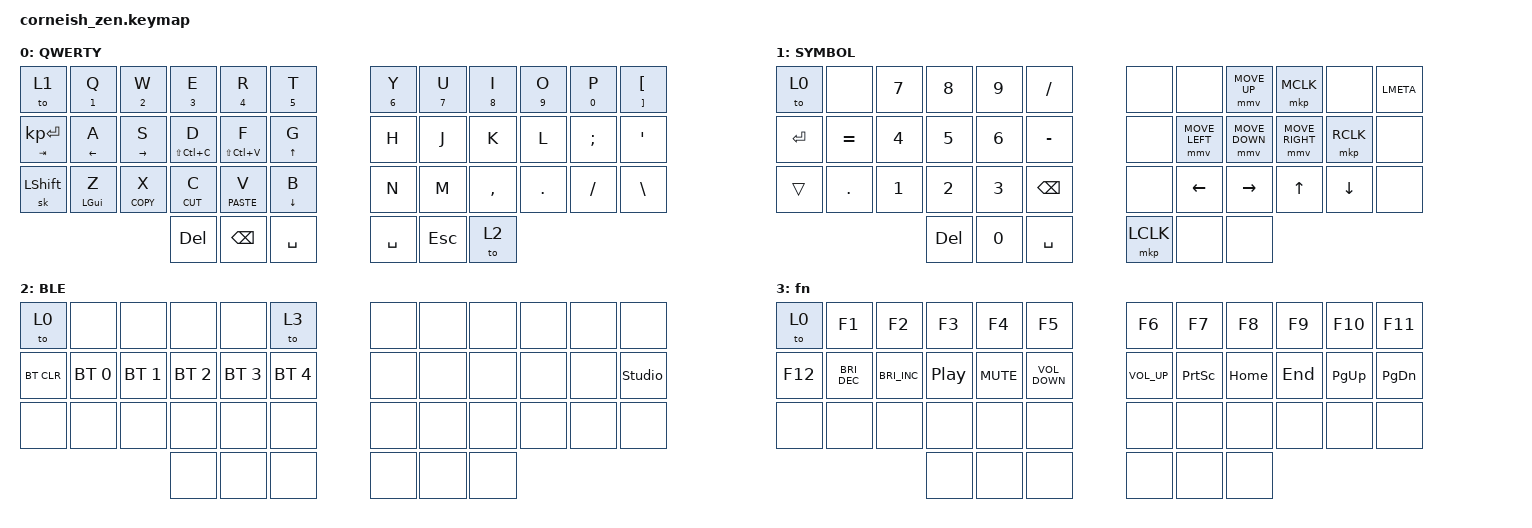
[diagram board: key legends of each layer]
#include <behaviors.dtsi>
#include <dt-bindings/zmk/bt.h>
#include <dt-bindings/zmk/keys.h>
#include <dt-bindings/zmk/pointing.h>

/ {
    chosen {
        zmk,physical-layout = &foostan_corne_6col_layout;

        // zmk,physical-layout = &foostan_corne_5col_layout;
    };
};

/ {
    keymap {
        compatible = "zmk,keymap";

        default_layer {
            display-name = "QWERTY";

            // --------------------------------------------------------------------------------
            // |  TAB |  Q  |  W  |  E  |  R  |  T  |   |  Y  |  U   |  I  |  O  |  P  | BSPC |
            // | CTRL |  A  |  S  |  D  |  F  |  G  |   |  H  |  J   |  K  |  L  |  ;  |  '   |
            // | SHFT |  Z  |  X  |  C  |  V  |  B  |   |  N  |  M   |  ,  |  .  |  /  | ESC  |
            //                    | GUI | LWR | SPC |   | ENT | RSE  | ALT |

            bindings = <
&to 1             &mt NUMBER_1 Q    &mt NUMBER_2 W     &mt NUMBER_3 E   &mt NUMBER_4 R   &mt N5 T            &mt NUMBER_6 Y  &mt N7 U  &mt N8 I   &mt N9 O  &mt N0 P  &mt RIGHT_BRACKET LEFT_BRACKET
&mt TAB KP_ENTER  &mt LEFT_ARROW A  &mt RIGHT_ARROW S  &mt LS(LC(C)) D  &mt LS(LC(V)) F  &mt UP_ARROW G      &kp H           &kp J     &kp K      &kp L     &kp SEMI  &kp SQT
&sk LEFT_SHIFT    &mt LEFT_GUI Z    &mt K_COPY X       &mt K_CUT C      &mt K_PASTE V    &mt DOWN_ARROW B    &kp N           &kp M     &kp COMMA  &kp DOT   &kp FSLH  &kp BACKSLASH
                                                       &kp DEL          &kp BACKSPACE    &kp SPACE           &kp SPACE       &kp ESC   &to 2
            >;
        };

        raise_layer {
            display-name = "SYMBOL";

            // -----------------------------------------------------------------------------------------
            // |  TAB |  !  |  @  |  #  |  $  |  %  |   |  ^  |  &  |  *  |  (  |  )  | BSPC |
            // | CTRL |     |     |     |     |     |   |  -  |  =  |  [  |  ]  |  \  |  `   |
            // | SHFT |     |     |     |     |     |   |  _  |  +  |  {  |  }  | "|" |  ~   |
            //                    | GUI |     | SPC |   | ENT |     | ALT |

            bindings = <
&to 0      &none       &kp N7        &kp N8        &kp N9        &kp SLASH        &none      &none           &mmv MOVE_UP    &mkp MCLK        &none           &kp LMETA
&kp ENTER  &kp EQUAL   &kp NUMBER_4  &kp N5        &kp NUMBER_6  &kp MINUS        &none      &mmv MOVE_LEFT  &mmv MOVE_DOWN  &mmv MOVE_RIGHT  &mkp RCLK       &none
&trans     &kp PERIOD  &kp NUMBER_1  &kp NUMBER_2  &kp NUMBER_3  &kp BACKSPACE    &none      &kp LEFT        &kp RIGHT       &kp UP_ARROW     &kp DOWN_ARROW  &none
                                     &kp DELETE    &kp N0        &kp SPACE        &mkp LCLK  &none           &none
            >;
        };

        lower_layer {
            display-name = "BLE";

            // -----------------------------------------------------------------------------------------
            // |  TAB |  1  |  2  |  3  |  4  |  5  |   |  6  |  7  |  8  |  9  |  0  | BSPC |
            // | BTCLR| BT1 | BT2 | BT3 | BT4 | BT5 |   | LFT | DWN |  UP | RGT |     |Studio|
            // | SHFT |     |     |     |     |     |   |     |     |     |     |     |      |
            //                    | GUI |     | SPC |   | ENT |     | ALT |

            bindings = <
&to 0       &none         &none         &none         &none         &to 3           &none  &none  &none  &none  &none  &none
&bt BT_CLR  &bt BT_SEL 0  &bt BT_SEL 1  &bt BT_SEL 2  &bt BT_SEL 3  &bt BT_SEL 4    &none  &none  &none  &none  &none  &studio_unlock
&none       &none         &none         &none         &none         &none           &none  &none  &none  &none  &none  &none
                                        &none         &none         &none           &none  &none  &none
            >;
        };

        fn {
            bindings = <
&to 0    &kp F1                &kp F2                &kp F3            &kp F4      &kp F5               &kp F6           &kp F7           &kp F8    &kp F9   &kp F10      &kp F11
&kp F12  &kp C_BRIGHTNESS_DEC  &kp C_BRIGHTNESS_INC  &kp C_PLAY_PAUSE  &kp C_MUTE  &kp C_VOLUME_DOWN    &kp C_VOLUME_UP  &kp PRINTSCREEN  &kp HOME  &kp END  &kp PAGE_UP  &kp PAGE_DOWN
&none    &none                 &none                 &none             &none       &none                &none            &none            &none     &none    &none        &none
                                                     &none             &none       &none                &none            &none            &none
            >;
        };
    };
};
